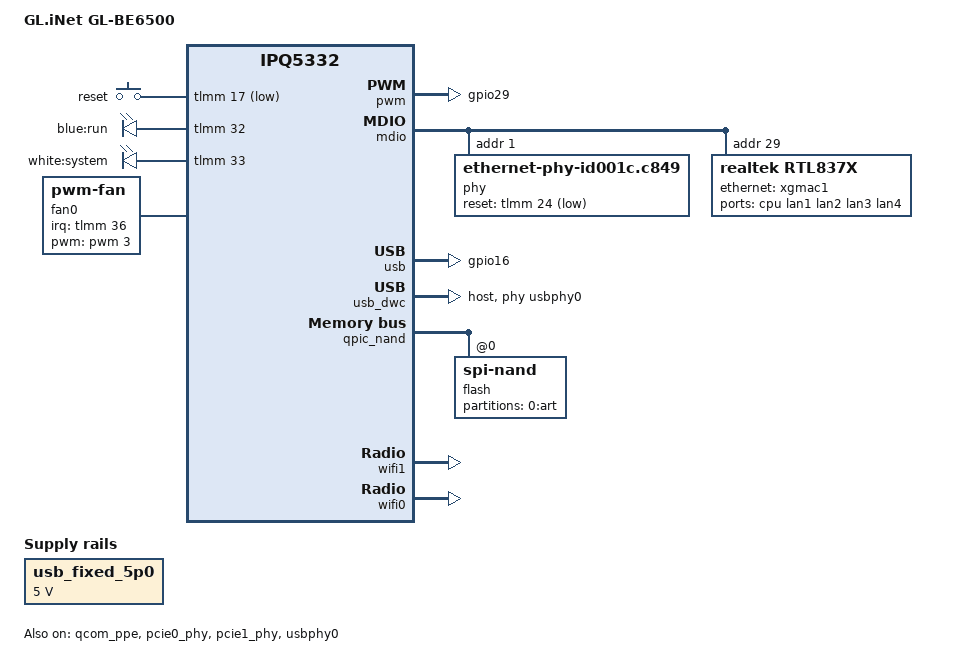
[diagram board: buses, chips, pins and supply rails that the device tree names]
// SPDX-License-Identifier: (GPL-2.0+ OR BSD-3-Clause)

/dts-v1/;

#include "ipq5332-common.dtsi"
#include "ipq5332-common-wifi.dtsi"

/ {
	model = "GL.iNet GL-BE6500";
	compatible = "gl.inet,gl-be6500", "qcom,ipq5332";

	chosen {
		bootargs-append = " root=/dev/ubiblock0_1";
	};

	reserved-memory {
		tzapp: tzapp@49600000 {
			reg = <0x0 0x49600000 0x0 0x00600000>;
			no-map;
		};

		ramoops@4da00000 {
			compatible = "ramoops";
			reg = <0x0 0x4da00000 0x0 0x00100000>;
			record-size = <0x00080000>;
			console-size = <0x00080000>;
			no-map;
		};
	};

	keys {
		compatible = "gpio-keys";
		pinctrl-0 = <&button_pins>;
		pinctrl-names = "default";

		reset {
			label = "reset";
			linux,code = <KEY_RESTART>;
			gpios = <&tlmm 17 GPIO_ACTIVE_LOW>;
			linux,input-type = <1>;
		};
	};

	leds {
		compatible = "gpio-leds";
		pinctrl-0 = <&leds_pins>;
		pinctrl-names = "default";

		led@32 {
			label = "blue:run";
			gpios = <&tlmm 32 GPIO_ACTIVE_HIGH>;
			default-state = "on";
		};

		led@33 {
			label = "white:system";
			gpios = <&tlmm 33 GPIO_ACTIVE_HIGH>;
			default-state = "off";
		};
	};

	fan0: pwm-fan {
		compatible = "pwm-fan";
		pinctrl-0 = <&fan_pins>;
		pinctrl-names = "default";
		pwms = <&pwm 3 40000 0>;
		interrupt-parent = <&tlmm>;
		interrupts = <36 IRQ_TYPE_EDGE_RISING>;
		pulses-per-revolution = <2>;
		cooling-levels = <36 128 192 255>;
		#cooling-cells = <2>;
	};

	usb_fixed_5p0: regulator-usb-5v {
		compatible = "regulator-fixed";
		regulator-name = "usb-fixed-5v";
		regulator-min-microvolt = <5000000>;
		regulator-max-microvolt = <5000000>;
		regulator-boot-on;
		regulator-always-on;
	};

	thermal-zones {
		cpu-top-thermal {
			polling-delay = <1000>;

			trips {
				fan_trip_high: active-high {
					temperature = <100000>;
					hysteresis = <2000>;
					type = "active";
				};

				fan_trip_med: active-med {
					temperature = <75000>;
					hysteresis = <2000>;
					type = "active";
				};

				fan_trip_low: active-low {
					temperature = <50000>;
					hysteresis = <2000>;
					type = "active";
				};
			};

			cooling-maps {
				fan-active-high {
					cooling-device = <&fan0 3 3>;
					trip = <&fan_trip_high>;
				};

				fan-active-med {
					cooling-device = <&fan0 2 2>;
					trip = <&fan_trip_med>;
				};

				fan-active-low {
					cooling-device = <&fan0 1 1>;
					trip = <&fan_trip_low>;
				};
			};
		};
	};
};

&pwm {
	status = "okay";

	#pwm-cells = <2>;
	pinctrl-0 = <&pwm_pins>;
	pinctrl-names = "default";
	used-pwm-indices = <0>, <0>, <0>, <1>;
};

/*
 * The bootstrap pins for the board select the XO clock frequency that
 * supports 48 MHZ or 96 MHZ. This setting automatically enables the
 * right dividers, to ensure the reference clock output from WiFi to
 * the CMN PLL is 48 MHZ.
 */
&ref_48mhz_clk {
	clock-div = <1>;
	clock-mult = <1>;
};

&xo_clk {
	clock-frequency = <48000000>;
};

&mdio {
	status = "okay";
	mdio_clk_fixup; /* MDIO clock sequence fix up flag */

	phy: ethernet-phy@1 {
		compatible = "ethernet-phy-id001c.c849";
		reg = <1>;
		reset-gpios = <&tlmm 24 GPIO_ACTIVE_LOW>;
		reset-assert-us = <10000>;
		reset-deassert-us = <50000>;
	};

	rtl837x: rtl837x-dsa@29 {
		compatible = "realtek,rtl837x";
		#address-cells = <1>;
		#size-cells = <0>;
		reg = <29>;
		//realtek,reset-done-by-mdio;
		rtl837x,sds0mode = "10g-kr";
		gpio-controller;
		#gpio-cells = <2>;

		sds0-rx-swap; // optional
		sds0-tx-swap; // optional
		sds1-rx-swap; // optional
		sds1-tx-swap; // optional

		ports {
			#address-cells = <1>;
			#size-cells = <0>;

			port@3 {
				reg = <3>;
				label = "cpu";
				ethernet = <&xgmac1>;
				phy-mode = "10gbase-r";

				fixed-link {
					speed = <10000>;
					full-duplex;
				};
			};

			port@4 {
				reg = <4>;
				label = "lan1";
				phy-mode = "internal";
			};

			port@5 {
				reg = <5>;
				label = "lan2";
				phy-mode = "internal";
			};

			port@6 {
				reg = <6>;
				label = "lan3";
				phy-mode = "internal";
			};

			port@7 {
				reg = <7>;
				label = "lan4";
				phy-mode = "internal";
			};
		};
	};

};

&qcom_ppe {
	status = "okay";

	ethernet-ports {
		#address-cells = <1>;
		#size-cells = <0>;

		xgmac1: port@1 {
			reg = <1>;
			phy-mode = "10gbase-r";
			label = "lan";
			nvmem-cells = <&base_macaddr 1>;
			nvmem-cell-names = "mac-address";
			pcs-handle = <&pcs0_ch0>;
			phy-handle = <&rtl837x>;
			clocks = <&nsscc NSS_CC_PORT1_MAC_CLK>,
				 <&nsscc NSS_CC_PORT1_RX_CLK>,
				 <&nsscc NSS_CC_PORT1_TX_CLK>;
			clock-names = "mac",
				      "rx",
				      "tx";
			resets = <&nsscc NSS_CC_PORT1_MAC_CLK_ARES>,
				 <&nsscc NSS_CC_PORT1_RX_CLK_ARES>,
				 <&nsscc NSS_CC_PORT1_TX_CLK_ARES>;
			reset-names = "mac",
				      "rx",
				      "tx";

			fixed-link {
				speed = <10000>;
				full-duplex;
				pause;
			};
		};

		xgmac2: port@2 {
			reg = <2>;
			phy-mode = "usxgmii";
			managed = "in-band-status";
			label = "wan";
			nvmem-cells = <&base_macaddr 0>;
			nvmem-cell-names = "mac-address";
			pcs-handle = <&pcs1_ch0>;
			phy-handle = <&phy>;
			clocks = <&nsscc NSS_CC_PORT2_MAC_CLK>,
				 <&nsscc NSS_CC_PORT2_RX_CLK>,
				 <&nsscc NSS_CC_PORT2_TX_CLK>;
			clock-names = "mac",
				      "rx",
				      "tx";
			resets = <&nsscc NSS_CC_PORT2_MAC_CLK_ARES>,
				 <&nsscc NSS_CC_PORT2_RX_CLK_ARES>,
				 <&nsscc NSS_CC_PORT2_TX_CLK_ARES>;
			reset-names = "mac",
				      "rx",
				      "tx";
		};
	};
};

&pcie0_phy {
	status = "okay";

	compatible = "qcom,ipq5332-usb-uniphy";

	clocks = <&gcc GCC_USB0_PIPE_CLK>,
		 <&gcc GCC_USB0_PHY_CFG_AHB_CLK>,
		 <&gcc GCC_PCIE3X1_PHY_AHB_CLK>;
	clock-names = "pipe", "phy_cfg_ahb", "phy_ahb";

	resets = <&gcc GCC_USB0_PHY_BCR>;
	reset-names = "por_rst";

	#clock-cells = <0>;
	#phy-cells = <0>;
	clock-output-names = "usb0_pipe_clk_src";

	qcom,phy-usb-mux-sel = <&tcsr 0x10540>;
	vdd-supply = <&usb_fixed_5p0>;

	/delete-property/ num-lanes;
};

&pcie1_phy {
	status = "okay";
};

&usb {
	status = "okay";

	pinctrl-0 = <&usb_pins>;
	pinctrl-names = "default";

	clocks = <&gcc GCC_USB0_MASTER_CLK>,
		 <&gcc GCC_USB0_SLEEP_CLK>,
		 <&gcc GCC_USB0_MOCK_UTMI_CLK>,
		 <&gcc GCC_USB0_AUX_CLK>,
		 <&gcc GCC_USB0_LFPS_CLK>;
	clock-names = "core",
		      "sleep",
		      "mock_utmi",
		      "aux",
		      "lfps";

	/delete-property/ qcom,select-utmi-as-pipe-clk;
};

&usb_dwc {
	status = "okay";

	phys = <&usbphy0>, <&pcie0_phy>;
	phy-names = "usb2-phy", "usb3-phy";
	dr_mode = "host";
	maximum-speed = "super-speed";
};

&usbphy0 {
	status = "okay";

	vdd-supply = <&usb_fixed_5p0>;
};

&qpic_nand {
	status = "okay";

	pinctrl-0 = <&qspi_pins>;
	pinctrl-names = "default";

	flash@0 {
		compatible = "spi-nand";
		reg = <0>;
		#address-cells = <1>;
		#size-cells = <1>;
		nand-ecc-engine = <&qpic_nand>;
		nand-ecc-strength = <8>;
		nand-ecc-step-size = <512>;

		partitions {
			compatible = "qcom,smem-part";

			partition-0-art {
				label = "0:art";
				read-only;

				nvmem-layout {
					compatible = "fixed-layout";
					#address-cells = <1>;
					#size-cells = <1>;

					base_macaddr: mac-address@a {
						compatible = "mac-base";
						reg = <0xa 0x6>;
						#nvmem-cell-cells = <1>;
					};
				};
			};
		};
	};
};

&tlmm {
	leds_pins: leds-pins {
		led-blue {
			pins = "gpio32";
			function = "gpio";
			drive-strength = <8>;
			bias-pull-down;
		};

		led-white {
			pins = "gpio33";
			function = "gpio";
			drive-strength = <8>;
			bias-pull-down;
		};
	};

	button_pins: button-pins {
		reset-button {
			pins = "gpio17";
			function = "gpio";
			drive-strength = <8>;
			bias-pull-up;
		};
	};

	pwm_pins: pwm-pins {
		pwm1 {
			pins = "gpio29";
			function = "pwm1";
			drive-strength = <8>;
		};
	};

	fan_pins: fan-pins {
		pwr {
			pins = "gpio34";
			function = "gpio";
			bias-pull-up;
			output-high;
		};
		speed {
			pins = "gpio36";
			function = "gpio";
			drive-strength = <8>;
			bias-pull-down;
		};
	};

	usb_pins: usb-pins {
		usb_pwr {
			pins = "gpio16";
			function = "gpio";
			bias-pull-up;
			output-high;
		};
	};
};

&wifi1 {
	qcom,board-id = <21>;

	nvmem-cells = <&base_macaddr 4>;
	nvmem-cell-names = "mac-address";
};

&wifi0 {
	qcom,board-id = <18>;

	nvmem-cells = <&base_macaddr 3>;
	nvmem-cell-names = "mac-address";
};
